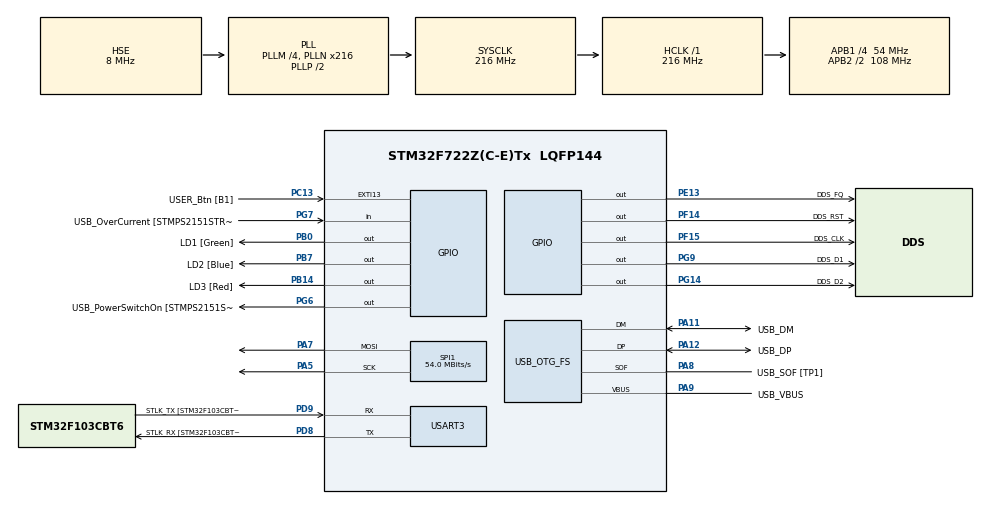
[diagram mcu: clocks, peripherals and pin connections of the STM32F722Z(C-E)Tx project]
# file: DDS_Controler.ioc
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Mcu.Family=STM32F7
Mcu.Name=STM32F722Z(C-E)Tx
Mcu.Package=LQFP144
NVIC.OTG_FS_IRQn=true\:0\:0\:false\:false\:true\:false\:true
NVIC.PriorityGroup=NVIC_PRIORITYGROUP_4
NVIC.TIM2_IRQn=true\:0\:0\:false\:false\:true\:true\:true
NVIC.TIM6_DAC_IRQn=true\:0\:0\:false\:false\:true\:true\:true
PA10.GPIO_Label=USB_ID
PA10.Signal=USB_OTG_FS_ID
PA11.GPIO_Label=USB_DM
PA11.Mode=Device_Only
PA11.Signal=USB_OTG_FS_DM
PA12.GPIO_Label=USB_DP
PA12.Mode=Device_Only
PA12.Signal=USB_OTG_FS_DP
PA13.GPIO_Label=TMS
PA13.Mode=Serial_Wire
PA13.Signal=SYS_JTMS-SWDIO
PA14.GPIO_Label=TCK
PA14.Mode=Serial_Wire
PA14.Signal=SYS_JTCK-SWCLK
PA5.Mode=TX_Only_Simplex_Unidirect_Master
PA5.Signal=SPI1_SCK
PA7.Mode=TX_Only_Simplex_Unidirect_Master
PA7.Signal=SPI1_MOSI
PA8.GPIO_Label=USB_SOF [TP1]
PA8.Mode=Activate_SOF_FS
PA8.Signal=USB_OTG_FS_SOF
PA9.GPIO_Label=USB_VBUS
PA9.Mode=Activate_VBUS
PA9.Signal=USB_OTG_FS_VBUS
PB0.GPIO_Label=LD1 [Green]
PB0.GPIO_PuPd=GPIO_NOPULL
PB0.GPIO_Speed=GPIO_SPEED_FREQ_LOW
PB0.PinState=GPIO_PIN_RESET
PB0.Signal=GPIO_Output
PB14.GPIO_Label=LD3 [Red]
PB14.Signal=GPIO_Output
PB3.GPIO_Label=SWO
PB3.Signal=SYS_JTDO-SWO
PB7.GPIO_Label=LD2 [Blue]
PB7.Signal=GPIO_Output
PC13.GPIO_Label=USER_Btn [B1]
PC13.Signal=GPXTI13
PC14-OSC32_IN.Mode=LSE-External-Oscillator
PC14-OSC32_IN.Signal=RCC_OSC32_IN
PC15-OSC32_OUT.Mode=LSE-External-Oscillator
PC15-OSC32_OUT.Signal=RCC_OSC32_OUT
PD8.GPIO_Label=STLK_RX [STM32F103CBT6_PA3]
PD8.Mode=Asynchronous
PD8.Signal=USART3_TX
PD9.GPIO_Label=STLK_TX [STM32F103CBT6_PA2]
PD9.Mode=Asynchronous
PD9.Signal=USART3_RX
PE13.GPIO_Label=DDS_FQ
PE13.GPIO_PuPd=GPIO_PULLDOWN
PE13.GPIO_Speed=GPIO_SPEED_FREQ_VERY_HIGH
PE13.PinState=GPIO_PIN_RESET
PE13.Signal=GPIO_Output
PF14.GPIO_Label=DDS_RST
PF14.GPIO_PuPd=GPIO_PULLDOWN
PF14.GPIO_Speed=GPIO_SPEED_FREQ_VERY_HIGH
PF14.Signal=GPIO_Output
PF15.GPIO_Label=DDS_CLK
PF15.GPIO_PuPd=GPIO_PULLDOWN
PF15.GPIO_Speed=GPIO_SPEED_FREQ_VERY_HIGH
PF15.Signal=GPIO_Output
PG14.GPIO_Label=DDS_D2
PG14.GPIO_PuPd=GPIO_PULLDOWN
PG14.GPIO_Speed=GPIO_SPEED_FREQ_VERY_HIGH
PG14.Signal=GPIO_Output
PG6.GPIO_Label=USB_PowerSwitchOn [STMPS2151STR_EN]
PG6.Signal=GPIO_Output
PG7.GPIO_Label=USB_OverCurrent [STMPS2151STR_FAULT]
PG7.Signal=GPIO_Input
PG9.GPIO_Label=DDS_D1
PG9.GPIO_PuPd=GPIO_PULLDOWN
PG9.GPIO_Speed=GPIO_SPEED_FREQ_VERY_HIGH
PG9.Signal=GPIO_Output
PH0-OSC_IN.GPIO_Label=MCO
PH0-OSC_IN.Mode=HSE-External-Clock-Source
PH0-OSC_IN.Signal=RCC_OSC_IN
PH1-OSC_OUT.Mode=HSE-External-Clock-Source
PH1-OSC_OUT.Signal=RCC_OSC_OUT
ProjectManager.HeapSize=0x200
ProjectManager.StackSize=0x400
ProjectManager.TargetToolchain=STM32CubeIDE
RCC.48MHZClocksFreq_Value=24000000
RCC.AHBFreq_Value=216000000
RCC.APB1CLKDivider=RCC_HCLK_DIV4
RCC.APB1Freq_Value=54000000
RCC.APB1TimFreq_Value=108000000
RCC.APB2CLKDivider=RCC_HCLK_DIV2
RCC.APB2Freq_Value=108000000
RCC.APB2TimFreq_Value=216000000
RCC.CortexFreq_Value=216000000
RCC.HCLKFreq_Value=216000000
RCC.HSE_VALUE=8000000
RCC.HSI_VALUE=16000000
RCC.PLLM=4
RCC.PLLMUL=RCC_PLL_MUL9
RCC.PLLN=216
RCC.PLLQ=9
RCC.PRESCALERUSB=RCC_USBCLKSOURCE_PLL_DIV1_5
RCC.SYSCLKFreq_VALUE=216000000
RCC.SYSCLKSource=RCC_SYSCLKSOURCE_PLLCLK
RCC.SYSCLKSourceVirtual=RCC_SYSCLKSOURCE_PLLCLK
RCC.USBFreq_Value=48000000
RCC.VCOOutputFreq_Value=432000000
SPI1.CalculateBaudRate=54.0 MBits/s
SPI1.Direction=SPI_DIRECTION_2LINES
SPI1.Mode=SPI_MODE_MASTER
SPI1.VirtualType=VM_MASTER
TIM2.AutoReloadPreload=TIM_AUTORELOAD_PRELOAD_ENABLE
TIM2.Period=10000
TIM2.Prescaler=10800
TIM6.AutoReloadPreload=TIM_AUTORELOAD_PRELOAD_ENABLE
TIM6.Period=10
TIM6.Prescaler=10800
USART3.VirtualMode-Asynchronous=VM_ASYNC
USB_DEVICE.CLASS_NAME_FS=CDC
USB_DEVICE.VirtualMode-CDC_FS=Cdc
USB_DEVICE.VirtualModeFS=Cdc_FS
USB_OTG_FS.VirtualMode=Device_Only
VP_TIM2_VS_ClockSourceINT.Mode=Internal
VP_TIM6_VS_ClockSourceINT.Mode=Enable_Timer
VP_USB_DEVICE_VS_USB_DEVICE_CDC_FS.Mode=CDC_FS
board=NUCLEO-F722ZE

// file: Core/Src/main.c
/* USER CODE BEGIN Header */
/**
  ******************************************************************************
  * @file           : main.c
  * @brief          : Main program body
  ******************************************************************************
  * @attention
  *
  * <h2><center>&copy; Copyright (c) 2023 STMicroelectronics.
  * All rights reserved.</center></h2>
  *
  * This software component is licensed by ST under BSD 3-Clause license,
  * the "License"; You may not use this file except in compliance with the
  * License. You may obtain a copy of the License at:
  *                        opensource.org/licenses/BSD-3-Clause
  *
  ******************************************************************************
  */
/* USER CODE END Header */
#include "main.h"
#include "usb_device.h"

/* USER CODE BEGIN Includes */
#include "usbd_cdc_if.h"
#include <string.h>
#include "st7735.h"
#include "usbd_cdc_if.h"
#include "usbd_desc.h"
#include "sine_LUT.h"
/* USER CODE END Includes */

/* USER CODE BEGIN PTD */
typedef struct _AD9851_states {
	uint32_t freq;
	uint8_t mode;
} DDS_t;
/* USER CODE END PTD */

/* USER CODE BEGIN PD */
#define true 1
#define false 0

/* USER CODE END PD */

/* USER CODE BEGIN PM */
DDS_t DDS_CH1;
DDS_t DDS_CH2;
/* USER CODE END PM */

SPI_HandleTypeDef hspi1;

TIM_HandleTypeDef htim2;
TIM_HandleTypeDef htim6;

UART_HandleTypeDef huart3;

void SystemClock_Config(void);
static void MX_GPIO_Init(void);
static void MX_USART3_UART_Init(void);
static void MX_SPI1_Init(void);
static void MX_TIM2_Init(void);
static void MX_TIM6_Init(void);

/* USER CODE BEGIN 0 */
void DDS_Serial_Init(){
	GPIOF->BSRR = GPIO_BSRR_BS_15;
	while(GPIOF->BSRR != 0){}
	GPIOF->BSRR = GPIO_BSRR_BR_15;
	while(GPIOF->BSRR != 0){}
	GPIOE->BSRR = GPIO_BSRR_BS_13;
	while(GPIOE->BSRR != 0){}
	GPIOE->BSRR = GPIO_BSRR_BR_13;
	while(GPIOE->BSRR != 0){}
	char *log  = "DDS_Serial_Init_complete\n\r";
	while(CDC_Transmit_FS((uint8_t *)log, strlen(log)) != USBD_OK){}
}

void DDS_Serial_Write(DDS_t *DDS_CH1, DDS_t *DDS_CH2){
	double 		Double_DDS_Senddata_CH1,
				Double_DDS_Senddata_CH2;
	uint64_t	DDS_Send_data_CH1,
				DDS_Send_data_CH2,
				BitMask;
	Double_DDS_Senddata_CH1 = 23.86092942 * (double)DDS_CH1->freq;		//2の32/180MHz = 23.86092942
	Double_DDS_Senddata_CH2 = 23.86092942 * (double)DDS_CH2->freq;		//2の32/180MHz = 23.86092942
	DDS_Send_data_CH1 = (uint64_t)Double_DDS_Senddata_CH1;
	DDS_Send_data_CH2 = (uint64_t)Double_DDS_Senddata_CH2;

	BitMask = 0x01;
	for (int i = 0; i < 32; i++) {
		if(DDS_Send_data_CH1 & BitMask){
			GPIOG->BSRR = GPIO_BSRR_BS_9; //DDS_D1 set
	//		while(CDC_Transmit_FS((uint8_t *)log_set, strlen(log_set)) != USBD_OK){}
		}else{
			GPIOG->BSRR = GPIO_BSRR_BR_9; //DDS_D1 unset
//			while(CDC_Transmit_FS((uint8_t *)log_unset, strlen(log_unset)) != USBD_OK){}
		}
		if(DDS_Send_data_CH2 & BitMask){
			GPIOG->BSRR = GPIO_BSRR_BS_14; //DDS_D2 set
	//		while(CDC_Transmit_FS((uint8_t *)log_set, strlen(log_set)) != USBD_OK){}
		}else{
			GPIOG->BSRR = GPIO_BSRR_BR_14; //DDS_D2 unset
//			while(CDC_Transmit_FS((uint8_t *)log_unset, strlen(log_unset)) != USBD_OK){}
				}
		while(GPIOG->BSRR != 0){}
		GPIOF->BSRR = GPIO_BSRR_BS_15; //DDS_CLK set
		while(GPIOF->BSRR != 0){}
		GPIOF->BSRR = GPIO_BSRR_BR_15;	//DDS_CLK unset
		while(GPIOF->BSRR != 0){}
		BitMask = BitMask << 1;
	}
	//制御設定�??????��?��??��?��???��?��??��?��????��?��??��?��???��?��??��?��8ビッ?????��?��??��?��???��?��??��?��????��?��??��?��???��?��??��?��?
	BitMask = 0x01;
	for (int j = 0; j < 8; j++){
		if(0x01 & BitMask){
			GPIOG->BSRR = GPIO_BSRR_BS_9;
		}else{
			GPIOG->BSRR = GPIO_BSRR_BR_9;
		}
		if(0x01 & BitMask){
			GPIOG->BSRR = GPIO_BSRR_BS_14;
		}else{
			GPIOG->BSRR = GPIO_BSRR_BR_14;
		}
		while(GPIOG->BSRR != 0){}
		GPIOF->BSRR = GPIO_BSRR_BS_15;
		while(GPIOF->BSRR != 0){}
		GPIOF->BSRR = GPIO_BSRR_BR_15;
		while(GPIOF->BSRR != 0){}
		BitMask = BitMask << 1;
	}
	GPIOE->BSRR = GPIO_BSRR_BS_13;
	while(GPIOE->BSRR != 0){}
	GPIOE->BSRR = GPIO_BSRR_BR_13;
	while(GPIOE->BSRR != 0){}
}

void CDC_start_check(){
	uint32_t timeout = 1000;
	uint32_t start_time = HAL_GetTick();
	unsigned char cdc_communication_start = false; //初期値
	if(!cdc_communication_start){
		char *msg = "CDC_initializing\n\r";
	    cdc_communication_start = CDC_Transmit_FS((uint8_t*)msg, sizeof(msg)) == USBD_OK;
	}
	if(cdc_communication_start == true){
		char *msg = "CDC_initial_OK!\n\r";
	    while (CDC_Transmit_FS((uint8_t*)msg, sizeof(msg)) == USBD_BUSY) {
	        if (HAL_GetTick() - start_time > timeout) {

	            break;
	        }
	    }
	}else{
	    //
	}

}

void freq_modulation_sine(uint32_t modulation_freq, uint32_t modulation_depth){

}
/* USER CODE END 0 */

int main(void)
{
  /* USER CODE BEGIN 1 */
	//--------making LCD instance-------------------//
	//ST7735_Object_t myST7735_handle;
	//ST7735_IO_t myST7735_io;
	//--------Set CDC buffer size---------------------//
  /* USER CODE END 1 */

  /* MCU Configuration--------------------------------------------------------*/

  /* Reset of all peripherals, Initializes the Flash interface and the Systick. */
  HAL_Init();

  /* USER CODE BEGIN Init */
  //ST7735_RegisterBusIO(&myST7735_handle, &myST7735_io);
  //myST7735_io.Init = &ST7735_IO_Init;
  /* USER CODE END Init */

  /* Configure the system clock */
  SystemClock_Config();

  /* Initialize all configured peripherals */
  MX_GPIO_Init();
  MX_USART3_UART_Init();
  MX_USB_DEVICE_Init();
  MX_SPI1_Init();
  MX_TIM2_Init();
  MX_TIM6_Init();
  /* USER CODE BEGIN 2 */
  CDC_start_check();
  DDS_Serial_Init();
  HAL_TIM_Base_Start_IT(&htim2);
  HAL_TIM_Base_Start_IT(&htim6);
  DDS_CH1.freq = 80000000;		//80MHz
  DDS_CH2.freq = 110000000;		//110MHz
  /* USER CODE END 2 */

  /* Infinite loop */
  /* USER CODE BEGIN WHILE */
  while (1)
  {
	  //DDS_CH1.freq = receive.array;
	  DDS_Serial_Write(&DDS_CH1, &DDS_CH2);
	  HAL_TIM_Base_GetState(&htim2);
	 // char *msg = (char *)DDS_CH1.freq;
	//  char *msg = "CDC_tick!\n\r";
	//while(CDC_Transmit_FS((uint8_t *)msg, strlen(msg)) != USBD_OK){}
	//  HAL_GPIO_TogglePin(LD1_GPIO_Port, LD1_Pin);
    /* USER CODE END WHILE */

  }
}

void SystemClock_Config(void)
{
  RCC_OscInitTypeDef RCC_OscInitStruct = {0};
  RCC_ClkInitTypeDef RCC_ClkInitStruct = {0};
  RCC_PeriphCLKInitTypeDef PeriphClkInitStruct = {0};

  /** Configure LSE Drive Capability
  */
  HAL_PWR_EnableBkUpAccess();
  /** Configure the main internal regulator output voltage
  */
  __HAL_RCC_PWR_CLK_ENABLE();
  __HAL_PWR_VOLTAGESCALING_CONFIG(PWR_REGULATOR_VOLTAGE_SCALE1);
  /** Initializes the RCC Oscillators according to the specified parameters
  * in the RCC_OscInitTypeDef structure.
  */
  RCC_OscInitStruct.OscillatorType = RCC_OSCILLATORTYPE_HSE;
  RCC_OscInitStruct.HSEState = RCC_HSE_BYPASS;
  RCC_OscInitStruct.PLL.PLLState = RCC_PLL_ON;
  RCC_OscInitStruct.PLL.PLLSource = RCC_PLLSOURCE_HSE;
  RCC_OscInitStruct.PLL.PLLM = 4;
  RCC_OscInitStruct.PLL.PLLN = 216;
  RCC_OscInitStruct.PLL.PLLP = RCC_PLLP_DIV2;
  RCC_OscInitStruct.PLL.PLLQ = 9;
  if (HAL_RCC_OscConfig(&RCC_OscInitStruct) != HAL_OK)
  {
    Error_Handler();
  }
  /** Activate the Over-Drive mode
  */
  if (HAL_PWREx_EnableOverDrive() != HAL_OK)
  {
    Error_Handler();
  }
  /** Initializes the CPU, AHB and APB buses clocks
  */
  RCC_ClkInitStruct.ClockType = RCC_CLOCKTYPE_HCLK|RCC_CLOCKTYPE_SYSCLK
                              |RCC_CLOCKTYPE_PCLK1|RCC_CLOCKTYPE_PCLK2;
  RCC_ClkInitStruct.SYSCLKSource = RCC_SYSCLKSOURCE_PLLCLK;
  RCC_ClkInitStruct.AHBCLKDivider = RCC_SYSCLK_DIV1;
  RCC_ClkInitStruct.APB1CLKDivider = RCC_HCLK_DIV4;
  RCC_ClkInitStruct.APB2CLKDivider = RCC_HCLK_DIV2;

  if (HAL_RCC_ClockConfig(&RCC_ClkInitStruct, FLASH_LATENCY_7) != HAL_OK)
  {
    Error_Handler();
  }
  PeriphClkInitStruct.PeriphClockSelection = RCC_PERIPHCLK_USART3|RCC_PERIPHCLK_CLK48;
  PeriphClkInitStruct.Usart3ClockSelection = RCC_USART3CLKSOURCE_PCLK1;
  PeriphClkInitStruct.Clk48ClockSelection = RCC_CLK48SOURCE_PLL;
  if (HAL_RCCEx_PeriphCLKConfig(&PeriphClkInitStruct) != HAL_OK)
  {
    Error_Handler();
  }
}

static void MX_SPI1_Init(void)
{

  /* SPI1 parameter configuration*/
  hspi1.Instance = SPI1;
  hspi1.Init.Mode = SPI_MODE_MASTER;
  hspi1.Init.Direction = SPI_DIRECTION_2LINES;
  hspi1.Init.DataSize = SPI_DATASIZE_4BIT;
  hspi1.Init.CLKPolarity = SPI_POLARITY_LOW;
  hspi1.Init.CLKPhase = SPI_PHASE_1EDGE;
  hspi1.Init.NSS = SPI_NSS_SOFT;
  hspi1.Init.BaudRatePrescaler = SPI_BAUDRATEPRESCALER_2;
  hspi1.Init.FirstBit = SPI_FIRSTBIT_MSB;
  hspi1.Init.TIMode = SPI_TIMODE_DISABLE;
  hspi1.Init.CRCCalculation = SPI_CRCCALCULATION_DISABLE;
  hspi1.Init.CRCPolynomial = 7;
  hspi1.Init.CRCLength = SPI_CRC_LENGTH_DATASIZE;
  hspi1.Init.NSSPMode = SPI_NSS_PULSE_ENABLE;
  if (HAL_SPI_Init(&hspi1) != HAL_OK)
  {
    Error_Handler();
  }

}

static void MX_TIM2_Init(void)
{

  TIM_ClockConfigTypeDef sClockSourceConfig = {0};
  TIM_MasterConfigTypeDef sMasterConfig = {0};

  htim2.Instance = TIM2;
  htim2.Init.Prescaler = 10800;
  htim2.Init.CounterMode = TIM_COUNTERMODE_UP;
  htim2.Init.Period = 10000;
  htim2.Init.ClockDivision = TIM_CLOCKDIVISION_DIV1;
  htim2.Init.AutoReloadPreload = TIM_AUTORELOAD_PRELOAD_ENABLE;
  if (HAL_TIM_Base_Init(&htim2) != HAL_OK)
  {
    Error_Handler();
  }
  sClockSourceConfig.ClockSource = TIM_CLOCKSOURCE_INTERNAL;
  if (HAL_TIM_ConfigClockSource(&htim2, &sClockSourceConfig) != HAL_OK)
  {
    Error_Handler();
  }
  sMasterConfig.MasterOutputTrigger = TIM_TRGO_RESET;
  sMasterConfig.MasterSlaveMode = TIM_MASTERSLAVEMODE_DISABLE;
  if (HAL_TIMEx_MasterConfigSynchronization(&htim2, &sMasterConfig) != HAL_OK)
  {
    Error_Handler();
  }

}

static void MX_TIM6_Init(void)
{

  TIM_MasterConfigTypeDef sMasterConfig = {0};

  htim6.Instance = TIM6;
  htim6.Init.Prescaler = 10800;
  htim6.Init.CounterMode = TIM_COUNTERMODE_UP;
  htim6.Init.Period = 10;
  htim6.Init.AutoReloadPreload = TIM_AUTORELOAD_PRELOAD_ENABLE;
  if (HAL_TIM_Base_Init(&htim6) != HAL_OK)
  {
    Error_Handler();
  }
  sMasterConfig.MasterOutputTrigger = TIM_TRGO_RESET;
  sMasterConfig.MasterSlaveMode = TIM_MASTERSLAVEMODE_DISABLE;
  if (HAL_TIMEx_MasterConfigSynchronization(&htim6, &sMasterConfig) != HAL_OK)
  {
    Error_Handler();
  }

}

static void MX_USART3_UART_Init(void)
{

  huart3.Instance = USART3;
  huart3.Init.BaudRate = 115200;
  huart3.Init.WordLength = UART_WORDLENGTH_8B;
  huart3.Init.StopBits = UART_STOPBITS_1;
  huart3.Init.Parity = UART_PARITY_NONE;
  huart3.Init.Mode = UART_MODE_TX_RX;
  huart3.Init.HwFlowCtl = UART_HWCONTROL_NONE;
  huart3.Init.OverSampling = UART_OVERSAMPLING_16;
  huart3.Init.OneBitSampling = UART_ONE_BIT_SAMPLE_DISABLE;
  huart3.AdvancedInit.AdvFeatureInit = UART_ADVFEATURE_NO_INIT;
  if (HAL_UART_Init(&huart3) != HAL_OK)
  {
    Error_Handler();
  }

}

static void MX_GPIO_Init(void)
{
  GPIO_InitTypeDef GPIO_InitStruct = {0};

  /* GPIO Ports Clock Enable */
  __HAL_RCC_GPIOC_CLK_ENABLE();
  __HAL_RCC_GPIOH_CLK_ENABLE();
  __HAL_RCC_GPIOA_CLK_ENABLE();
  __HAL_RCC_GPIOB_CLK_ENABLE();
  __HAL_RCC_GPIOF_CLK_ENABLE();
  __HAL_RCC_GPIOE_CLK_ENABLE();
  __HAL_RCC_GPIOD_CLK_ENABLE();
  __HAL_RCC_GPIOG_CLK_ENABLE();

  /*Configure GPIO pin Output Level */
  HAL_GPIO_WritePin(GPIOB, LD1_Pin|LD3_Pin|LD2_Pin, GPIO_PIN_RESET);

  /*Configure GPIO pin Output Level */
  HAL_GPIO_WritePin(GPIOF, DDS_RST_Pin|DDS_CLK_Pin, GPIO_PIN_RESET);

  /*Configure GPIO pin Output Level */
  HAL_GPIO_WritePin(DDS_FQ_GPIO_Port, DDS_FQ_Pin, GPIO_PIN_RESET);

  /*Configure GPIO pin Output Level */
  HAL_GPIO_WritePin(GPIOG, USB_PowerSwitchOn_Pin|DDS_D1_Pin|DDS_D2_Pin, GPIO_PIN_RESET);

  /*Configure GPIO pin : USER_Btn_Pin */
  GPIO_InitStruct.Pin = USER_Btn_Pin;
  GPIO_InitStruct.Mode = GPIO_MODE_IT_RISING;
  GPIO_InitStruct.Pull = GPIO_NOPULL;
  HAL_GPIO_Init(USER_Btn_GPIO_Port, &GPIO_InitStruct);

  /*Configure GPIO pins : LD1_Pin LD3_Pin LD2_Pin */
  GPIO_InitStruct.Pin = LD1_Pin|LD3_Pin|LD2_Pin;
  GPIO_InitStruct.Mode = GPIO_MODE_OUTPUT_PP;
  GPIO_InitStruct.Pull = GPIO_NOPULL;
  GPIO_InitStruct.Speed = GPIO_SPEED_FREQ_LOW;
  HAL_GPIO_Init(GPIOB, &GPIO_InitStruct);

  /*Configure GPIO pins : DDS_RST_Pin DDS_CLK_Pin */
  GPIO_InitStruct.Pin = DDS_RST_Pin|DDS_CLK_Pin;
  GPIO_InitStruct.Mode = GPIO_MODE_OUTPUT_PP;
  GPIO_InitStruct.Pull = GPIO_PULLDOWN;
  GPIO_InitStruct.Speed = GPIO_SPEED_FREQ_VERY_HIGH;
  HAL_GPIO_Init(GPIOF, &GPIO_InitStruct);

  /*Configure GPIO pin : DDS_FQ_Pin */
  GPIO_InitStruct.Pin = DDS_FQ_Pin;
  GPIO_InitStruct.Mode = GPIO_MODE_OUTPUT_PP;
  GPIO_InitStruct.Pull = GPIO_PULLDOWN;
  GPIO_InitStruct.Speed = GPIO_SPEED_FREQ_VERY_HIGH;
  HAL_GPIO_Init(DDS_FQ_GPIO_Port, &GPIO_InitStruct);

  /*Configure GPIO pin : USB_PowerSwitchOn_Pin */
  GPIO_InitStruct.Pin = USB_PowerSwitchOn_Pin;
  GPIO_InitStruct.Mode = GPIO_MODE_OUTPUT_PP;
  GPIO_InitStruct.Pull = GPIO_NOPULL;
  GPIO_InitStruct.Speed = GPIO_SPEED_FREQ_LOW;
  HAL_GPIO_Init(USB_PowerSwitchOn_GPIO_Port, &GPIO_InitStruct);

  /*Configure GPIO pin : USB_OverCurrent_Pin */
  GPIO_InitStruct.Pin = USB_OverCurrent_Pin;
  GPIO_InitStruct.Mode = GPIO_MODE_INPUT;
  GPIO_InitStruct.Pull = GPIO_NOPULL;
  HAL_GPIO_Init(USB_OverCurrent_GPIO_Port, &GPIO_InitStruct);

  /*Configure GPIO pins : DDS_D1_Pin DDS_D2_Pin */
  GPIO_InitStruct.Pin = DDS_D1_Pin|DDS_D2_Pin;
  GPIO_InitStruct.Mode = GPIO_MODE_OUTPUT_PP;
  GPIO_InitStruct.Pull = GPIO_PULLDOWN;
  GPIO_InitStruct.Speed = GPIO_SPEED_FREQ_VERY_HIGH;
  HAL_GPIO_Init(GPIOG, &GPIO_InitStruct);

}

/* USER CODE BEGIN 4 */

void HAL_TIM_PeriodElapsedCallback (TIM_HandleTypeDef * htim6){
	DDS_CH1.freq = DDS_CH1.freq + 10000;
		if (DDS_CH1.freq >= 85000000) {
			DDS_CH1.freq = 65000000;
		}
	DDS_CH2.freq = DDS_CH2.freq + 10000;
		if (DDS_CH2.freq >= 120000000) {
			DDS_CH2.freq = 100000000;
		}
		HAL_GPIO_TogglePin(LD2_GPIO_Port, LD2_Pin);
}

void HAL_TIM_OC_DelayElapsedCallback(TIM_HandleTypeDef * htim6){

}

/* USER CODE END 4 */

void Error_Handler(void)
{
  __disable_irq();
  while (1)
  {
  }
}

/************************ (C) COPYRIGHT STMicroelectronics *****END OF FILE****/
